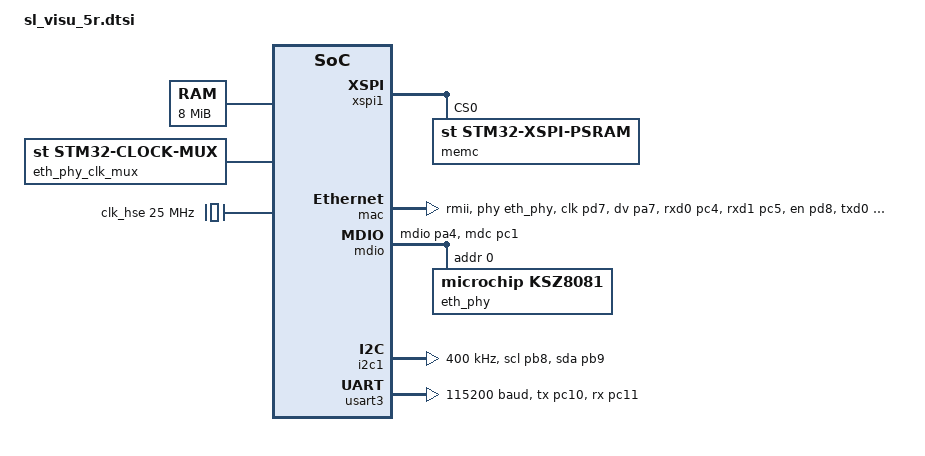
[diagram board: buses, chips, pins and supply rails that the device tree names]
/*
 * SPDX-License-Identifier: Apache-2.0
 *
 * SL-VISU-5R device data: 25 MHz HSE clock tree, 32 MB external flash, APS6408L x8 PSRAM, Ethernet RMII with a
 * KSZ8081 PHY clocked by the MCU (PLL3 S on PD6), I2C1 and USART3. The display, touch and backlight are driven by
 * the device's OpenPLC package HAL, not here.
 */

#include <zephyr/dt-bindings/memory-attr/memory-attr.h>
#include <zephyr/dt-bindings/memory-attr/memory-attr-arm.h>

/ {
	psram: memory@90000000 {
		compatible = "zephyr,memory-region";
		reg = <0x90000000 DT_SIZE_M(8)>;
		zephyr,memory-region = "PSRAM";
		zephyr,memory-attr = <DT_MEM_ARM(ATTR_MPU_RAM_NOCACHE)>;
	};

	eth_phy_clk_mux: eth-phy-clk-mux {
		#clock-cells = <0>;
		compatible = "st,stm32-clock-mux";
		clocks = <&rcc STM32_SRC_PLL3_S STM32_DT_CLOCK_SELECT(1, 18, 18, D1CCIPR_REG)>;
		status = "okay";
	};
};

&clk_hse {
	clock-frequency = <DT_FREQ_M(25)>;
	status = "okay";
};

&pll {
	div-m = <2>;
	mul-n = <48>;
	div-p = <1>;
	div-q = <2>;
	div-r = <2>;
	div-s = <2>;
	div-t = <2>;
	clocks = <&clk_hse>;
	status = "okay";
};

&pll3 {
	div-m = <2>;
	mul-n = <32>;
	div-q = <20>;
	div-r = <16>;
	div-s = <8>;
	clocks = <&clk_hse>;
	status = "okay";
};

&pinctrl {
	eth_clk_pd6: eth_clk_pd6 {
		pinmux = <STM32_PINMUX('D', 6, AF4)>;
		slew-rate = "very-high-speed";
	};
};

ext_flash_mem: &ext_flash_mem {
	reg = <0x70000000 DT_SIZE_M(32)>;
};

&ext_flash_ctrl {
	size = <DT_SIZE_M(256)>; /* 256 Mbits */
	ranges = <0x0 0x70000000 DT_SIZE_M(32)>;
};

&ext_flash {
	reg = <0x0 DT_SIZE_M(32)>;
};

&xspi1 {
	pinctrl-0 = <&xspim_p1_ncs1_po0 &xspim_p1_dqs0_po2 &xspim_p1_clk_po4
		     &xspim_p1_io0_pp0 &xspim_p1_io1_pp1 &xspim_p1_io2_pp2 &xspim_p1_io3_pp3
		     &xspim_p1_io4_pp4 &xspim_p1_io5_pp5 &xspim_p1_io6_pp6 &xspim_p1_io7_pp7>;
	pinctrl-names = "default";
	status = "okay";

	memc: aps6408l@0 {
		compatible = "st,stm32-xspi-psram";
		reg = <0>;
		size = <DT_SIZE_M(64)>; /* 64 Mbits */
		max-frequency = <DT_FREQ_M(100)>;
		read-latency = <1>;
		write-latency = <4>;
		burst-length = <1>;
		st,csbound = <10>;
		st,refresh = <400>;
		status = "okay";
	};
};

&mac {
	pinctrl-0 = <&eth_rmii_ref_clk_pd7
		     &eth_rmii_crs_dv_pa7
		     &eth_rmii_rxd0_pc4
		     &eth_rmii_rxd1_pc5
		     &eth_rmii_tx_en_pd8
		     &eth_rmii_txd0_pb0
		     &eth_rmii_txd1_pb7
		     &eth_clk_pd6>;
	pinctrl-names = "default";
	phy-connection-type = "rmii";
	phy-handle = <&eth_phy>;
	status = "okay";
};

&mdio {
	pinctrl-0 = <&eth_mdio_pa4 &eth_mdc_pc1>;
	pinctrl-names = "default";
	status = "okay";

	eth_phy: ethernet-phy@0 {
		compatible = "microchip,ksz8081";
		reg = <0x00>;
		microchip,interface-type = "rmii";
		status = "okay";
	};
};

&i2c1 {
	pinctrl-0 = <&i2c1_scl_pb8 &i2c1_sda_pb9>;
	pinctrl-names = "default";
	clock-frequency = <I2C_BITRATE_FAST>;
	status = "okay";
};

&usart3 {
	pinctrl-0 = <&usart3_tx_pc10 &usart3_rx_pc11>;
	pinctrl-names = "default";
	current-speed = <115200>;
	status = "okay";
};
